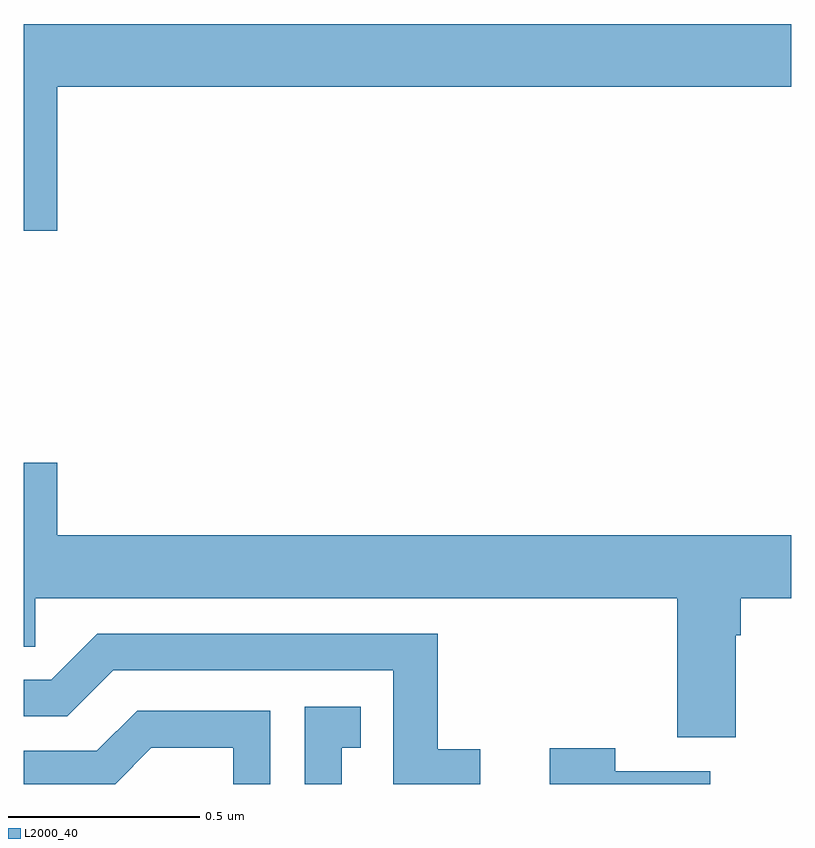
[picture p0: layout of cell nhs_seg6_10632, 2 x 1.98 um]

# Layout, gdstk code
import gdstk
lib = gdstk.Library(unit=1e-6, precision=1e-09)
def P(c, l, *ps):  # polygons
    for p in ps: c.add(gdstk.Polygon(p, *l))
L2000_40 = (2000, 40)

nhs_seg6_10632 = lib.new_cell('nhs_seg6_10632')
P(nhs_seg6_10632, L2000_40, [(249.088,967.316),(251,967.316),(251,967.48),(249,967.48),(249,966.942),(249.088,966.942)],
  [(250.855,965.888),(250.868,965.888),(250.868,965.984),(251,965.984),(251,966.148),(249.088,966.148),(249.088,966.337),(249,966.337),(249,965.857),(249.03,965.857),(249.03,965.984),(250.703,965.984),(250.703,965.622),(250.855,965.622)],
  [(250.19,965.59),(250.079,965.59),(250.079,965.892),(249.192,965.892),(249.072,965.772),(249,965.772),(249,965.676),(249.114,965.676),(249.234,965.796),(249.963,965.796),(249.963,965.5),(250.19,965.5)],
  [(249.829,965.595),(249.878,965.595),(249.878,965.701),(249.732,965.701),(249.732,965.5),(249.829,965.5)],
  [(249.332,965.594),(249.546,965.594),(249.546,965.5),(249.642,965.5),(249.642,965.691),(249.296,965.691),(249.191,965.586),(249,965.586),(249,965.5),(249.238,965.5)],
  [(250.789,965.533),(250.541,965.533),(250.541,965.593),(250.37,965.593),(250.37,965.5),(250.789,965.5)])

lib.write_gds('nhs_seg6_10632.gds')
